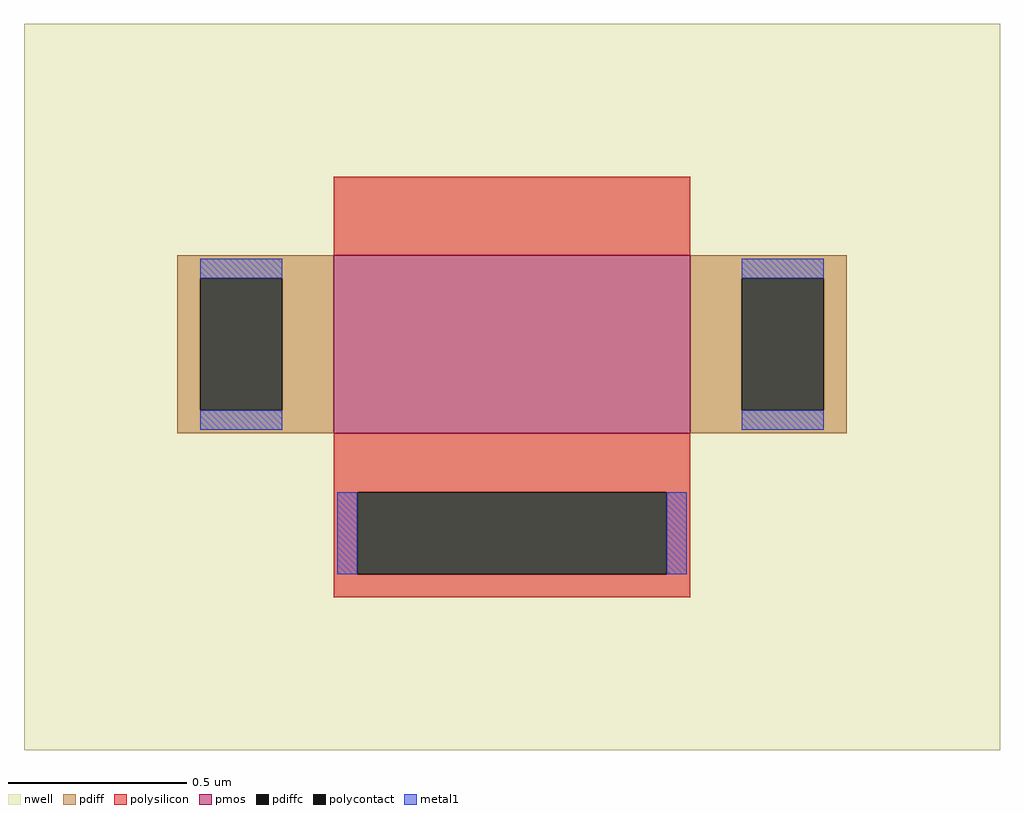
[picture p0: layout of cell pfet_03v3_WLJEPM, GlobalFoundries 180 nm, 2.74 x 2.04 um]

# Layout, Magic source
magic
tech gf180mcuD
magscale 1 10
<< nwell >>
rect -274 -204 274 204
<< pmos >>
rect -100 -26 100 74
<< pdiff >>
rect -188 61 -100 74
rect -188 -13 -175 61
rect -129 -13 -100 61
rect -188 -26 -100 -13
rect 100 61 188 74
rect 100 -13 129 61
rect 175 -13 188 61
rect 100 -26 188 -13
<< pdiffc >>
rect -175 -13 -129 61
rect 129 -13 175 61
<< polysilicon >>
rect -100 74 100 118
rect -100 -59 100 -26
rect -100 -105 -87 -59
rect 87 -105 100 -59
rect -100 -118 100 -105
<< polycontact >>
rect -87 -105 87 -59
<< metal1 >>
rect -175 61 -129 72
rect -175 -24 -129 -13
rect 129 61 175 72
rect 129 -24 175 -13
rect -98 -105 -87 -59
rect 87 -105 98 -59
<< properties >>
string gencell pfet_03v3
string library gf180mcu
string parameters w 0.5 l 1 m 1 nf 1 diffcov 100 polycov 100 guard 0 glc 0 grc 0 gtc 0 gbc 0 tbcov 100 rlcov 100 topc 0 botc 1 poverlap 0 doverlap 1 lmin 0.28 wmin 0.22 class mosfet full_metal 0 compatible {pfet_03v3 pfet_05v0 pfet_06v0}
<< end >>
